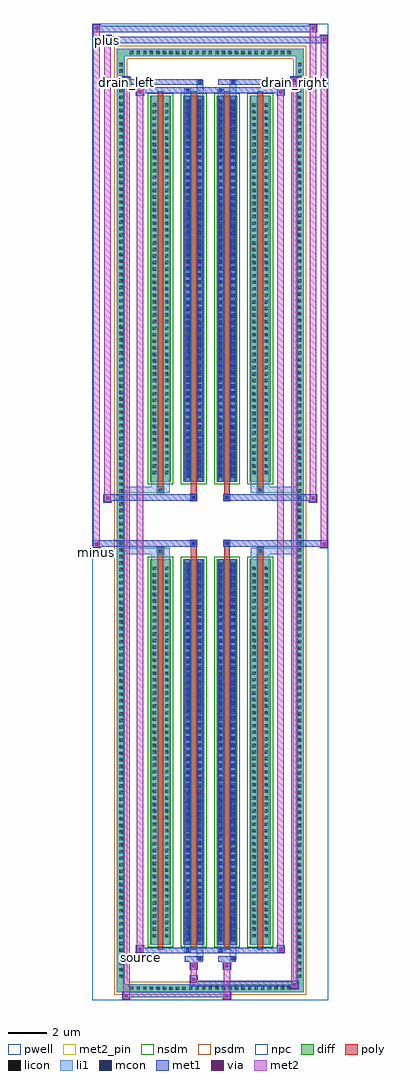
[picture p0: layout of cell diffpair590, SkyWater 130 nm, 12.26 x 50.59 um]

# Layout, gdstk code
import gdstk
lib = gdstk.Library(unit=1e-6, precision=5e-09)
def R(c, l, rs):  # rectangles x0, y0, x1, y1
    for r in rs: c.add(gdstk.rectangle(r[:2], r[2:], *l))
def A(c, l, x, y, w, h, nx, ny, dx, dy):  # array of equal rectangles
    R(c, l, [(x+i*dx, y+j*dy, x+i*dx+w, y+j*dy+h) for i in range(nx) for j in range(ny)])
def P(c, l, *ps):  # polygons
    for p in ps: c.add(gdstk.Polygon(p, *l))
pwell = (64, 44)
diff = (65, 20)
poly = (66, 20)
licon = (66, 44)
li1 = (67, 20)
mcon = (67, 44)
met1 = (68, 20)
via = (68, 44)
met2_pin = (69, 16)
met2 = (69, 20)
nsdm = (93, 44)
psdm = (94, 20)
npc = (95, 20)

diffpair590 = lib.new_cell('diffpair590')
R(diffpair590, pwell, [(-6.11,-24.86,6.11,25.73), (-3.43,-23.05,-0.01,-0.825), (0.01,-23.05,3.43,-0.825), (-3.43,0.825,-0.01,23.05), (0.01,0.825,3.43,23.05)])
A(diffpair590, diff, -4.285, -24.46, 0.41, 0.41, 25, 2, 0.34, 48.51)
A(diffpair590, diff, -4.84, -23.835, 0.41, 0.41, 1, 140, 0, 0.34)
A(diffpair590, diff, 4.43, -23.835, 0.41, 0.41, 1, 140, 0, 0.34)
A(diffpair590, diff, -3.12, -22.005, 1.08, 20, 4, 2, 1.72, 24.01)
R(diffpair590, diff, [(-4.285,-24.46,4.285,-24.05), (-4.84,-23.835,-4.43,23.835), (4.43,-23.835,4.84,23.835), (-4.285,24.05,4.285,24.46)])
P(diffpair590, diff, [(4.84,24.46),(-4.84,24.46),(-4.84,-24.05),(-4.43,-24.05),(-4.43,24.05),(4.43,24.05),(4.43,-24.05),(-4.43,-24.05),(-4.84,-24.05),(-4.84,-24.46),(4.84,-24.46)])
A(diffpair590, poly, -2.73, -22.255, 0.3, 20.5, 4, 2, 1.72, 24.01)
R(diffpair590, poly, [(-2.745,-1.755,-2.415,-1.425), (-2.745,-1.755,-2.415,-1.425), (-1.01,-1.755,-0.71,-1.355), (0.71,-1.755,1.01,-1.355), (2.415,-1.755,2.745,-1.425), (2.415,-1.755,2.745,-1.425), (-1.025,-1.355,-0.695,-1.025), (-1.025,-1.355,-0.695,-1.025), (0.695,-1.355,1.025,-1.025), (0.695,-1.355,1.025,-1.025), (-1.025,1.025,-0.695,1.355), (-1.025,1.025,-0.695,1.355), (0.695,1.025,1.025,1.355), (0.695,1.025,1.025,1.355), (-1.01,1.355,-0.71,1.755), (0.71,1.355,1.01,1.755), (-2.745,1.425,-2.415,1.755), (-2.745,1.425,-2.415,1.755), (2.415,1.425,2.745,1.755), (2.415,1.425,2.745,1.755)])
A(diffpair590, licon, -4.165, -24.34, 0.17, 0.17, 25, 2, 0.34, 48.51)
A(diffpair590, licon, -4.72, -23.715, 0.17, 0.17, 1, 140, 0, 0.34)
A(diffpair590, licon, 4.55, -23.715, 0.17, 0.17, 1, 140, 0, 0.34)
A(diffpair590, licon, -2.98, -21.61, 0.17, 0.17, 1, 57, 0, 0.34)
A(diffpair590, licon, -2.35, -21.61, 0.17, 0.17, 1, 57, 0, 0.34)
A(diffpair590, licon, -1.26, -21.61, 0.17, 0.17, 1, 57, 0, 0.34)
A(diffpair590, licon, -0.63, -21.61, 0.17, 0.17, 1, 57, 0, 0.34)
A(diffpair590, licon, 0.46, -21.61, 0.17, 0.17, 1, 57, 0, 0.34)
A(diffpair590, licon, 1.09, -21.61, 0.17, 0.17, 1, 57, 0, 0.34)
A(diffpair590, licon, 2.18, -21.61, 0.17, 0.17, 1, 57, 0, 0.34)
A(diffpair590, licon, 2.81, -21.61, 0.17, 0.17, 1, 57, 0, 0.34)
A(diffpair590, licon, -2.98, 2.4, 0.17, 0.17, 1, 57, 0, 0.34)
A(diffpair590, licon, -2.35, 2.4, 0.17, 0.17, 1, 57, 0, 0.34)
A(diffpair590, licon, -1.26, 2.4, 0.17, 0.17, 1, 57, 0, 0.34)
A(diffpair590, licon, -0.63, 2.4, 0.17, 0.17, 1, 57, 0, 0.34)
A(diffpair590, licon, 0.46, 2.4, 0.17, 0.17, 1, 57, 0, 0.34)
A(diffpair590, licon, 1.09, 2.4, 0.17, 0.17, 1, 57, 0, 0.34)
A(diffpair590, licon, 2.18, 2.4, 0.17, 0.17, 1, 57, 0, 0.34)
A(diffpair590, licon, 2.81, 2.4, 0.17, 0.17, 1, 57, 0, 0.34)
R(diffpair590, licon, [(-2.665,-1.675,-2.495,-1.505), (2.495,-1.675,2.665,-1.505), (-0.945,-1.275,-0.775,-1.105), (0.775,-1.275,0.945,-1.105), (-0.945,1.105,-0.775,1.275), (0.775,1.105,0.945,1.275), (-2.665,1.505,-2.495,1.675), (2.495,1.505,2.665,1.675)])
A(diffpair590, li1, -4.245, -24.42, 0.33, 0.33, 25, 2, 0.34, 48.51)
A(diffpair590, li1, -4.8, -23.795, 0.33, 0.33, 1, 140, 0, 0.34)
A(diffpair590, li1, 4.47, -23.795, 0.33, 0.33, 1, 140, 0, 0.34)
A(diffpair590, li1, -1.26, -21.81, 0.17, 0.17, 1, 55, 0, 0.36)
A(diffpair590, li1, -0.63, -21.81, 0.17, 0.17, 1, 55, 0, 0.36)
A(diffpair590, li1, 0.46, -21.81, 0.17, 0.17, 1, 55, 0, 0.36)
A(diffpair590, li1, 1.09, -21.81, 0.17, 0.17, 1, 55, 0, 0.36)
A(diffpair590, li1, -3.06, -21.69, 0.33, 0.33, 1, 57, 0, 0.34)
A(diffpair590, li1, -2.43, -21.69, 0.33, 0.33, 1, 57, 0, 0.34)
A(diffpair590, li1, -1.34, -21.69, 0.33, 0.33, 1, 57, 0, 0.34)
A(diffpair590, li1, -0.71, -21.69, 0.33, 0.33, 1, 57, 0, 0.34)
A(diffpair590, li1, 0.38, -21.69, 0.33, 0.33, 1, 57, 0, 0.34)
A(diffpair590, li1, 1.01, -21.69, 0.33, 0.33, 1, 57, 0, 0.34)
A(diffpair590, li1, 2.1, -21.69, 0.33, 0.33, 1, 57, 0, 0.34)
A(diffpair590, li1, 2.73, -21.69, 0.33, 0.33, 1, 57, 0, 0.34)
A(diffpair590, li1, -1.26, 2.2, 0.17, 0.17, 1, 55, 0, 0.36)
A(diffpair590, li1, -0.63, 2.2, 0.17, 0.17, 1, 55, 0, 0.36)
A(diffpair590, li1, 0.46, 2.2, 0.17, 0.17, 1, 55, 0, 0.36)
A(diffpair590, li1, 1.09, 2.2, 0.17, 0.17, 1, 55, 0, 0.36)
A(diffpair590, li1, -3.06, 2.32, 0.33, 0.33, 1, 57, 0, 0.34)
A(diffpair590, li1, -2.43, 2.32, 0.33, 0.33, 1, 57, 0, 0.34)
A(diffpair590, li1, -1.34, 2.32, 0.33, 0.33, 1, 57, 0, 0.34)
A(diffpair590, li1, -0.71, 2.32, 0.33, 0.33, 1, 57, 0, 0.34)
A(diffpair590, li1, 0.38, 2.32, 0.33, 0.33, 1, 57, 0, 0.34)
A(diffpair590, li1, 1.01, 2.32, 0.33, 0.33, 1, 57, 0, 0.34)
A(diffpair590, li1, 2.1, 2.32, 0.33, 0.33, 1, 57, 0, 0.34)
A(diffpair590, li1, 2.73, 2.32, 0.33, 0.33, 1, 57, 0, 0.34)
R(diffpair590, li1, [(-4.84,-24.46,-4.43,-24.05), (-4.84,-24.46,-4.43,-24.05), (-4.43,-24.46,4.43,-24.05), (4.43,-24.46,4.84,-24.05), (4.43,-24.46,4.84,-24.05), (-4.84,-24.05,-4.43,24.05), (4.43,-24.05,4.84,24.05), (-0.71,-22.81,-0.38,-22.005), (-0.63,-22.81,-0.46,-22.64), (1.01,-22.81,1.34,-22.005), (1.09,-22.81,1.26,-22.64), (-1.34,-22.38,-1.01,-22.005), (-1.26,-22.38,-1.09,-22.21), (0.38,-22.38,0.71,-22.005), (0.46,-22.38,0.63,-22.21), (-3.06,-22.005,-2.73,-2.005), (-2.43,-22.005,-2.1,-2.005), (-1.34,-22.005,-1.01,-2.005), (-0.71,-22.005,-0.38,-2.005), (0.38,-22.005,0.71,-2.005), (1.01,-22.005,1.34,-2.005), (2.1,-22.005,2.43,-2.005), (2.73,-22.005,3.06,-2.005), (-1.26,-21.81,-1.09,-2.2), (-0.63,-21.81,-0.46,-2.2), (0.46,-21.81,0.63,-2.2), (1.09,-21.81,1.26,-2.2), (-3.06,-2.005,-2.73,-1.425), (-2.43,-2.005,-2.1,-1.425), (2.1,-2.005,2.43,-1.425), (2.73,-2.005,3.06,-1.425), (-4.84,-1.755,-2.745,-1.425), (-3.06,-1.755,-2.745,-1.425), (-2.745,-1.755,-2.415,-1.425), (-2.415,-1.755,-2.1,-1.425), (2.1,-1.755,2.415,-1.425), (2.415,-1.755,2.745,-1.425), (2.415,-1.755,4.84,-1.425), (2.745,-1.755,3.06,-1.425), (-1.025,-1.355,-0.695,-1.025), (0.695,-1.355,1.025,-1.025), (-1.025,1.025,-0.695,1.355), (0.695,1.025,1.025,1.355), (-4.84,1.425,-2.745,1.755), (-3.06,1.425,-2.745,1.755), (-3.06,1.425,-2.73,2.005), (-2.745,1.425,-2.415,1.755), (-2.43,1.425,-2.1,2.005), (-2.415,1.425,-2.1,1.755), (2.1,1.425,2.415,1.755), (2.1,1.425,2.43,2.005), (2.415,1.425,2.745,1.755), (2.415,1.425,4.84,1.755), (2.73,1.425,3.06,2.005), (2.745,1.425,3.06,1.755), (-3.06,2.005,-2.73,22.005), (-2.43,2.005,-2.1,22.005), (-1.34,2.005,-1.01,22.005), (-0.71,2.005,-0.38,22.005), (0.38,2.005,0.71,22.005), (1.01,2.005,1.34,22.005), (2.1,2.005,2.43,22.005), (2.73,2.005,3.06,22.005), (-1.26,2.2,-1.09,21.81), (-0.63,2.2,-0.46,21.81), (0.46,2.2,0.63,21.81), (1.09,2.2,1.26,21.81), (-1.34,22.005,-1.01,22.38), (-0.71,22.005,-0.38,22.81), (0.38,22.005,0.71,22.38), (1.01,22.005,1.34,22.81), (-1.26,22.21,-1.09,22.38), (0.46,22.21,0.63,22.38), (-0.63,22.64,-0.46,22.81), (1.09,22.64,1.26,22.81), (-4.84,24.05,-4.43,24.46), (-4.84,24.05,-4.43,24.46), (-4.43,24.05,4.43,24.46), (4.43,24.05,4.84,24.46), (4.43,24.05,4.84,24.46)])
A(diffpair590, mcon, -1.26, -21.81, 0.17, 0.17, 1, 55, 0, 0.36)
A(diffpair590, mcon, -0.63, -21.81, 0.17, 0.17, 1, 55, 0, 0.36)
A(diffpair590, mcon, 0.46, -21.81, 0.17, 0.17, 1, 55, 0, 0.36)
A(diffpair590, mcon, 1.09, -21.81, 0.17, 0.17, 1, 55, 0, 0.36)
A(diffpair590, mcon, -1.26, 2.2, 0.17, 0.17, 1, 55, 0, 0.36)
A(diffpair590, mcon, -0.63, 2.2, 0.17, 0.17, 1, 55, 0, 0.36)
A(diffpair590, mcon, 0.46, 2.2, 0.17, 0.17, 1, 55, 0, 0.36)
A(diffpair590, mcon, 1.09, 2.2, 0.17, 0.17, 1, 55, 0, 0.36)
R(diffpair590, mcon, [(-0.63,-22.81,-0.46,-22.64), (1.09,-22.81,1.26,-22.64), (-1.26,-22.38,-1.09,-22.21), (0.46,-22.38,0.63,-22.21), (-0.945,-1.275,-0.775,-1.105), (0.775,-1.275,0.945,-1.105), (-0.945,1.105,-0.775,1.275), (0.775,1.105,0.945,1.275), (-1.26,22.21,-1.09,22.38), (0.46,22.21,0.63,22.38), (-0.63,22.64,-0.46,22.81), (1.09,22.64,1.26,22.81)])
A(diffpair590, met1, -1.32, -21.87, 0.29, 0.29, 1, 55, 0, 0.36)
A(diffpair590, met1, -0.69, -21.87, 0.29, 0.29, 1, 55, 0, 0.36)
A(diffpair590, met1, 0.4, -21.87, 0.29, 0.29, 1, 55, 0, 0.36)
A(diffpair590, met1, 1.03, -21.87, 0.29, 0.29, 1, 55, 0, 0.36)
A(diffpair590, met1, -1.32, 2.14, 0.29, 0.29, 1, 55, 0, 0.36)
A(diffpair590, met1, -0.69, 2.14, 0.29, 0.29, 1, 55, 0, 0.36)
A(diffpair590, met1, 0.4, 2.14, 0.29, 0.29, 1, 55, 0, 0.36)
A(diffpair590, met1, 1.03, 2.14, 0.29, 0.29, 1, 55, 0, 0.36)
R(diffpair590, met1, [(-4.57,-24.86,-4.14,-24.43), (0.645,-24.86,1.075,-24.43), (-4.57,-24.72,1.075,-24.43), (4.14,-24.29,4.57,-23.86), (-1.075,-24.15,4.57,-23.86), (-1.075,-24.01,-0.645,-23.58), (-1.075,-23.3,-0.645,-22.87), (0.645,-23.3,1.075,-22.87), (-1.32,-22.87,-0.4,-22.58), (-0.69,-22.87,-0.4,-22.58), (0.4,-22.87,1.32,-22.58), (1.03,-22.87,1.32,-22.58), (-3.86,-22.44,-3.43,-22.01), (-3.86,-22.44,-1.32,-22.15), (-1.32,-22.44,-1.03,-22.15), (-1.32,-22.44,-0.4,-22.15), (-0.4,-22.44,0.4,-22.15), (0.4,-22.44,0.69,-22.15), (0.4,-22.44,1.32,-22.15), (1.32,-22.44,3.86,-22.15), (3.43,-22.44,3.86,-22.01), (-1.32,-22.005,-1.03,-2.005), (-0.69,-22.005,-0.4,-2.005), (0.4,-22.005,0.69,-2.005), (1.03,-22.005,1.32,-2.005), (-6.11,-1.455,-5.68,-1.025), (5.68,-1.455,6.11,-1.025), (-6.11,-1.355,-0.695,-1.025), (-1.025,-1.355,-0.695,-1.025), (0.695,-1.355,1.025,-1.025), (0.695,-1.355,6.11,-1.025), (-1.005,-1.335,-0.715,-1.045), (0.715,-1.335,1.005,-1.045), (-5.54,0.925,-5.11,1.355), (5.11,0.925,5.54,1.355), (-5.54,1.025,-1.025,1.355), (-1.025,1.025,-0.695,1.355), (0.695,1.025,1.025,1.355), (1.025,1.025,5.54,1.355), (-1.005,1.045,-0.715,1.335), (0.715,1.045,1.005,1.335), (-1.32,2.005,-1.03,22.005), (-0.69,2.005,-0.4,22.005), (0.4,2.005,0.69,22.005), (1.03,2.005,1.32,22.005), (-3.86,22.01,-3.43,22.44), (3.43,22.01,3.86,22.44), (-3.86,22.15,-1.32,22.44), (-1.32,22.15,-1.03,22.44), (-1.32,22.15,-0.4,22.44), (-0.4,22.15,0.4,22.44), (0.4,22.15,0.69,22.44), (0.4,22.15,1.32,22.44), (1.32,22.15,3.86,22.44), (-4.57,22.58,-4.14,23.01), (-4.57,22.58,-1.32,22.87), (-1.32,22.58,-0.4,22.87), (-0.69,22.58,-0.4,22.87), (0.4,22.58,1.32,22.87), (1.03,22.58,1.32,22.87), (1.32,22.58,4.57,22.87), (4.14,22.58,4.57,23.01), (-5.54,24.73,-5.11,25.16), (-5.54,24.73,-3.43,25.06), (-3.43,24.73,3.43,25.06), (3.43,24.73,6.11,25.06), (5.68,24.73,6.11,25.16), (-6.11,25.3,-5.68,25.73), (-6.11,25.3,-3.43,25.63), (-3.43,25.3,3.43,25.63), (3.43,25.3,5.54,25.63), (5.11,25.3,5.54,25.73)])
R(diffpair590, via, [(-4.43,-24.72,-4.28,-24.57), (0.785,-24.72,0.935,-24.57), (4.28,-24.15,4.43,-24), (-0.935,-23.87,-0.785,-23.72), (-0.935,-23.16,-0.785,-23.01), (0.785,-23.16,0.935,-23.01), (-3.72,-22.3,-3.57,-22.15), (3.57,-22.3,3.72,-22.15), (-5.97,-1.315,-5.82,-1.165), (5.82,-1.315,5.97,-1.165), (-5.4,1.065,-5.25,1.215), (5.25,1.065,5.4,1.215), (-3.72,22.15,-3.57,22.3), (3.57,22.15,3.72,22.3), (-4.43,22.72,-4.28,22.87), (4.28,22.72,4.43,22.87), (-5.4,24.87,-5.25,25.02), (5.82,24.87,5.97,25.02), (-5.97,25.44,-5.82,25.59), (5.25,25.44,5.4,25.59)])
R(diffpair590, met2_pin, [(-3.895,-22.89,-3.395,-22.39), (-6.145,-1.905,-5.645,-1.405), (-4.605,22.46,-4.105,22.96), (4.105,22.46,4.605,22.96), (-5.575,24.61,-5.075,25.11)])
R(diffpair590, met2, [(-4.52,-24.81,-4.19,-24.48), (-4.52,-24.81,-4.19,22.96), (0.695,-24.81,1.025,-24.48), (0.695,-24.48,1.025,-23.25), (4.19,-24.24,4.52,-23.91), (4.19,-24.24,4.52,22.96), (-1.025,-23.96,-0.695,-23.63), (-1.025,-23.63,-0.695,-23.25), (-1.025,-23.25,-0.695,-22.92), (0.695,-23.25,1.025,-22.92), (-3.81,-22.39,-3.48,-22.06), (-3.81,-22.39,-3.48,22.39), (3.48,-22.39,3.81,-22.06), (3.48,-22.39,3.81,22.39), (-6.06,-1.405,-5.73,-1.075), (-6.06,-1.405,-5.73,25.68), (5.73,-1.405,6.06,-1.075), (5.73,-1.405,6.06,25.11), (-5.49,0.975,-5.16,1.305), (-5.49,0.975,-5.16,25.11), (5.16,0.975,5.49,1.305), (5.16,0.975,5.49,25.68), (-3.81,22.06,-3.48,22.39), (3.48,22.06,3.81,22.39), (-4.52,22.63,-4.19,22.96), (4.19,22.63,4.52,22.96), (-5.49,24.78,-5.16,25.11), (5.73,24.78,6.06,25.11), (-6.06,25.35,-5.73,25.68), (5.16,25.35,5.49,25.68)])
P(diffpair590, met2, [(6.06,-1.405),(6.06,-1.405),(6.06,-1.075),(6.06,-1.075)],
  [(6.06,24.78),(6.06,24.78),(6.06,25.11),(6.06,25.11)],
  [(-5.73,-1.405),(-5.73,-1.405),(-5.73,-1.075),(-5.73,-1.075)],
  [(-5.73,25.35),(-5.73,25.35),(-5.73,25.68),(-5.73,25.68)],
  [(5.49,0.975),(5.49,0.975),(5.49,1.305),(5.49,1.305)],
  [(5.49,25.35),(5.49,25.35),(5.49,25.68),(5.49,25.68)],
  [(-5.16,0.975),(-5.16,0.975),(-5.16,1.305),(-5.16,1.305)],
  [(-5.16,24.78),(-5.16,24.78),(-5.16,25.11),(-5.16,25.11)],
  [(-4.19,-24.81),(-4.19,-24.81),(-4.19,-24.48),(-4.19,-24.48)],
  [(-4.19,22.63),(-4.19,22.63),(-4.19,22.96),(-4.19,22.96)],
  [(4.52,-24.24),(4.52,-24.24),(4.52,-23.91),(4.52,-23.91)],
  [(4.52,22.63),(4.52,22.63),(4.52,22.96),(4.52,22.96)],
  [(-3.48,-22.39),(-3.48,-22.39),(-3.48,-22.06),(-3.48,-22.06)],
  [(-3.48,22.06),(-3.48,22.06),(-3.48,22.39),(-3.48,22.39)],
  [(3.81,-22.39),(3.81,-22.39),(3.81,-22.06),(3.81,-22.06)],
  [(3.81,22.06),(3.81,22.06),(3.81,22.39),(3.81,22.39)])
A(diffpair590, nsdm, -3.25, -22.135, 1.34, 20.26, 4, 2, 1.72, 24.01)
P(diffpair590, psdm, [(4.97,24.59),(-4.97,24.59),(-4.97,-23.92),(-4.3,-23.92),(-4.3,23.92),(4.3,23.92),(4.3,-23.92),(-4.3,-23.92),(-4.97,-23.92),(-4.97,-24.59),(4.97,-24.59)])
R(diffpair590, npc, [(-2.765,-1.775,-2.395,-1.405), (2.395,-1.775,2.765,-1.405), (-1.045,-1.375,-0.675,-1.005), (0.675,-1.375,1.045,-1.005), (-1.045,1.005,-0.675,1.375), (0.675,1.005,1.045,1.375), (-2.765,1.405,-2.395,1.775), (2.395,1.405,2.765,1.775)])
diffpair590.add(gdstk.Label('minus', (-5.895,-1.655), layer=69, texttype=5))
diffpair590.add(gdstk.Label('drain_right', (4.355,22.71), layer=69, texttype=5))
diffpair590.add(gdstk.Label('drain_left', (-4.355,22.71), layer=69, texttype=5))
diffpair590.add(gdstk.Label('source', (-3.645,-22.64), layer=69, texttype=5))
diffpair590.add(gdstk.Label('plus', (-5.325,24.86), layer=69, texttype=5))

lib.write_gds('diffpair590.gds')
